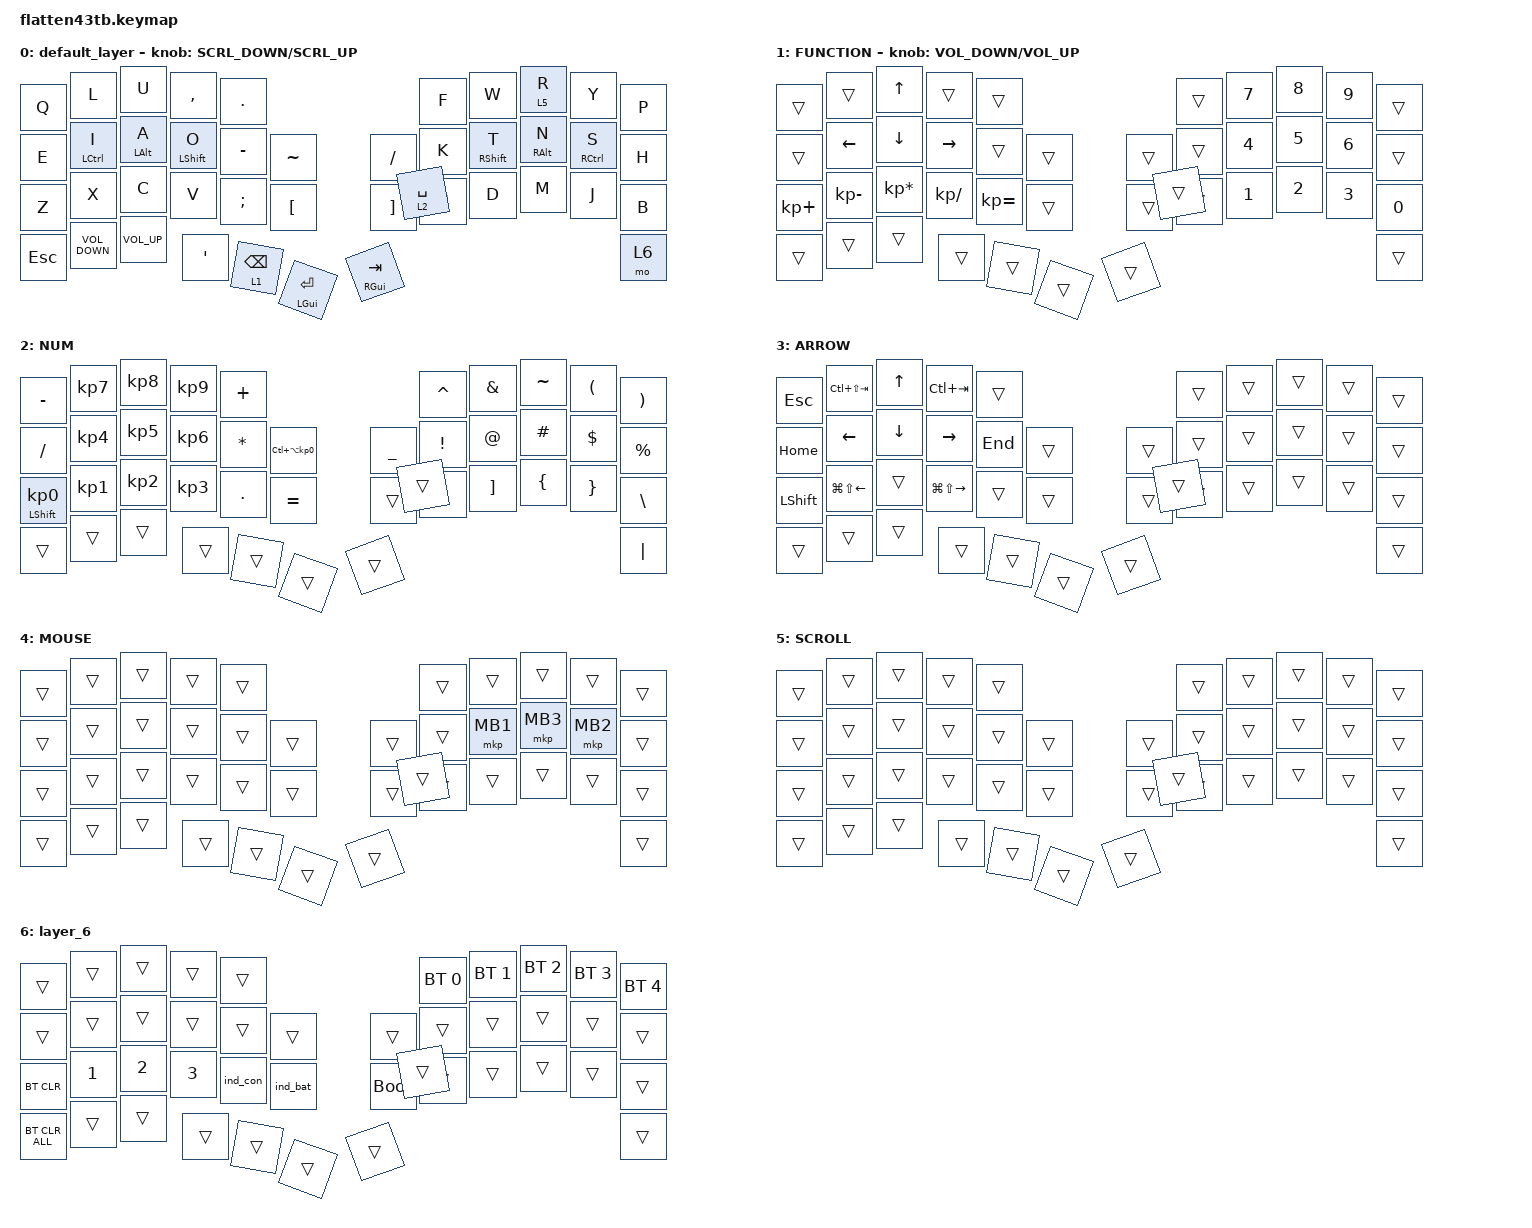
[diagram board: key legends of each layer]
#define ZMK_POINTING_DEFAULT_SCRL_VAL 150

#include <behaviors/rgbled_widget.dtsi>
#include <dt-bindings/zmk/input_transform.h>
#include <input/processors.dtsi>
#include <zephyr/dt-bindings/input/input-event-codes.h>
#include <behaviors.dtsi>
#include <dt-bindings/zmk/bt.h>
#include <dt-bindings/zmk/keys.h>
#include <dt-bindings/zmk/pointing.h>

&mt {
    flavor = "balanced";
    quick-tap-ms = <0>;
};

&trackball {
    automouse-layer = <4>;
    scroll-layers = <5>;

    // arrows {
    //     layers = <3>;
    //     bindings =
    //         <&kp RIGHT_ARROW>,
    //         <&kp LEFT_ARROW>,
    //         <&kp UP_ARROW>,
    //         <&kp DOWN_ARROW>;
    //     tick = <10>;
    //     wait-ms = <5>;
    //     tap-ms = <5>;
    // };
};

&mmv {
    delay-ms = <20>;
    trigger-period-ms = <3>;
    time-to-max-speed-ms = <30>;
    acceleration-exponent = <4>;
};

&msc {
    delay-ms = <3>;
    trigger-period-ms = <15>;
    time-to-max-speed-ms = <200>;
    acceleration-exponent = <0>;
};

/ {
    input_processors {
        zip_wheel_scaler: zip_wheel_scaler {
            compatible = "zmk,input-processor-scaler";
            #input-processor-cells = <2>;
            type = <INPUT_EV_REL>;
            codes = <INPUT_REL_WHEEL>;
            track-remainders;
        };
    };
};

/ {
    combos {
        compatible = "zmk,combos";

        eisu {
            bindings = <&kp LANG2>;
            key-positions = <12 13>;
        };

        kana {
            bindings = <&kp LANG1>;
            key-positions = <19 18>;
        };
    };

    macros {
        to_layer_0: to_layer_0 {
            compatible = "zmk,behavior-macro-one-param";
            #binding-cells = <1>;
            bindings = <&to 0 &macro_param_1to1 &kp MACRO_PLACEHOLDER>;
            label = "TO_LAYER_0";
        };
    };

    behaviors {
        lt_to_layer_0: lt_to_layer_0 {
            compatible = "zmk,behavior-hold-tap";
            label = "LAYER_TAP_TO_0";
            bindings = <&mo>, <&to_layer_0>;
            #binding-cells = <2>;
            tapping-term-ms = <200>;
            flavor = "hold-preferred";       // ←ホールド優先！
        };

        sensor_rotate_kp: sensor_rotate_kp {
            compatible = "zmk,behavior-sensor-rotate-var";
            #sensor-binding-cells = <2>;
            bindings = <&kp>, <&kp>;
        };

        mouse_wheel_scroll: mouse_wheel_scroll {
            compatible = "zmk,behavior-sensor-rotate-var";
            #sensor-binding-cells = <2>;
            bindings = <&msc>, <&msc>;

            tap-ms = <20>;
        };

        mt_tap_hold: mod_tap {
            compatible = "zmk,behavior-hold-tap";
            label = "MT_TAP_HOLD";
            #binding-cells = <2>;
            tapping-term-ms = <220>;  // タップとホールドの判定時間ゆったりめ
            quick-tap-ms = <0>;  // 連続入力の救済
            // flavor = "tap-unless-interrupted";  // 誤ホールド防止の定番。コメントアウト中。
            flavor = "tap-preferred";  // ← タップ優先設定を使うならこっち。
            bindings = <&kp>, <&kp>;
        };

    };

    keymap {
        compatible = "zmk,keymap";

        default_layer {
            bindings = <
&kp Q       &kp L               &kp U            &kp COMMA         &kp PERIOD                                                   &kp F        &kp W              &lt 5 R          &kp Y                &kp P
&kp E       &mt LEFT_CONTROL I  &mt LEFT_ALT A   &mt LEFT_SHIFT O  &kp MINUS        &kp TILDE                &kp SLASH          &kp K        &mt RIGHT_SHIFT T  &mt RIGHT_ALT N  &mt RIGHT_CONTROL S  &kp H
&kp Z       &kp X               &kp C            &kp V             &kp SEMICOLON    &kp LEFT_BRACKET         &kp RIGHT_BRACKET  &kp G        &kp D              &kp M            &kp J                &kp B
&kp ESCAPE  &kp C_VOLUME_DOWN   &kp C_VOLUME_UP  &kp APOS          &lt 1 BACKSPACE  &mt LEFT_GUI RETURN      &mt RIGHT_GUI TAB  &lt 2 SPACE                                                           &mo 6
            >;

            sensor-bindings = <&mouse_wheel_scroll SCRL_DOWN SCRL_UP>;
        };

        FUNCTION {
            bindings = <
&trans       &trans          &kp UP_ARROW     &trans           &trans                            &trans  &kp NUMBER_7  &kp NUMBER_8  &kp NUMBER_9  &trans
&trans       &kp LEFT_ARROW  &kp DOWN_ARROW   &kp RIGHT_ARROW  &trans        &trans      &trans  &trans  &kp NUMBER_4  &kp NUMBER_5  &kp NUMBER_6  &trans
&kp KP_PLUS  &kp KP_MINUS    &kp KP_MULTIPLY  &kp KP_DIVIDE    &kp KP_EQUAL  &trans      &trans  &trans  &kp NUMBER_1  &kp NUMBER_2  &kp NUMBER_3  &kp NUMBER_0
&trans       &trans          &trans           &trans           &trans        &trans      &trans  &trans                                            &trans
            >;

            sensor-bindings = <&sensor_rotate_kp C_VOLUME_DOWN C_VOLUME_UP>;
        };

        NUM {
            bindings = <
&kp MINUS                   &kp KP_NUMBER_7  &kp KP_NUMBER_8  &kp KP_NUMBER_9  &kp PLUS                                                   &kp CARET         &kp AMPERSAND      &kp TILDE       &kp LEFT_PARENTHESIS  &kp RIGHT_PARENTHESIS
&kp SLASH                   &kp KP_NUMBER_4  &kp KP_NUMBER_5  &kp KP_NUMBER_6  &kp ASTERISK  &kp LC(LA(KP_NUMBER_0))      &kp UNDERSCORE  &kp EXCLAMATION   &kp AT_SIGN        &kp HASH        &kp DOLLAR            &kp PERCENT
&mt LEFT_SHIFT KP_NUMBER_0  &kp KP_NUMBER_1  &kp KP_NUMBER_2  &kp KP_NUMBER_3  &kp PERIOD    &kp EQUAL                    &trans          &kp LEFT_BRACKET  &kp RIGHT_BRACKET  &kp LEFT_BRACE  &kp RIGHT_BRACE       &kp BACKSLASH
&trans                      &trans           &trans           &trans           &trans        &trans                       &trans          &trans                                                                     &kp PIPE
            >;
        };

        ARROW {
            bindings = <
&kp ESCAPE      &kp LC(LS(TAB))         &kp UP_ARROW    &kp LC(TAB)              &trans                       &trans  &trans  &trans  &trans  &trans
&kp HOME        &kp LEFT_ARROW          &kp DOWN_ARROW  &kp RIGHT_ARROW          &kp END  &trans      &trans  &trans  &trans  &trans  &trans  &trans
&kp LEFT_SHIFT  &kp LG(LS(LEFT_ARROW))  &trans          &kp LG(LS(RIGHT_ARROW))  &trans   &trans      &trans  &trans  &trans  &trans  &trans  &trans
&trans          &trans                  &trans          &trans                   &trans   &trans      &trans  &trans                          &trans
            >;
        };

        MOUSE {
            bindings = <
&trans  &trans  &trans  &trans  &trans                      &trans  &trans    &trans    &trans    &trans
&trans  &trans  &trans  &trans  &trans  &trans      &trans  &trans  &mkp MB1  &mkp MB3  &mkp MB2  &trans
&trans  &trans  &trans  &trans  &trans  &trans      &trans  &trans  &trans    &trans    &trans    &trans
&trans  &trans  &trans  &trans  &trans  &trans      &trans  &trans                                &trans
            >;
        };

        SCROLL {
            bindings = <
&trans  &trans  &trans  &trans  &trans                      &trans  &trans  &trans  &trans  &trans
&trans  &trans  &trans  &trans  &trans  &trans      &trans  &trans  &trans  &trans  &trans  &trans
&trans  &trans  &trans  &trans  &trans  &trans      &trans  &trans  &trans  &trans  &trans  &trans
&trans  &trans  &trans  &trans  &trans  &trans      &trans  &trans                          &trans
            >;
        };

        layer_6 {
            bindings = <
&trans          &trans        &trans        &trans        &trans                               &bt BT_SEL 0  &bt BT_SEL 1  &bt BT_SEL 2  &bt BT_SEL 3  &bt BT_SEL 4
&trans          &trans        &trans        &trans        &trans    &trans        &trans       &trans        &trans        &trans        &trans        &trans
&bt BT_CLR      &kp NUMBER_1  &kp NUMBER_2  &kp NUMBER_3  &ind_con  &ind_bat      &bootloader  &trans        &trans        &trans        &trans        &trans
&bt BT_CLR_ALL  &trans        &trans        &trans        &trans    &trans        &trans       &trans                                                  &trans
            >;
        };
    };
};
